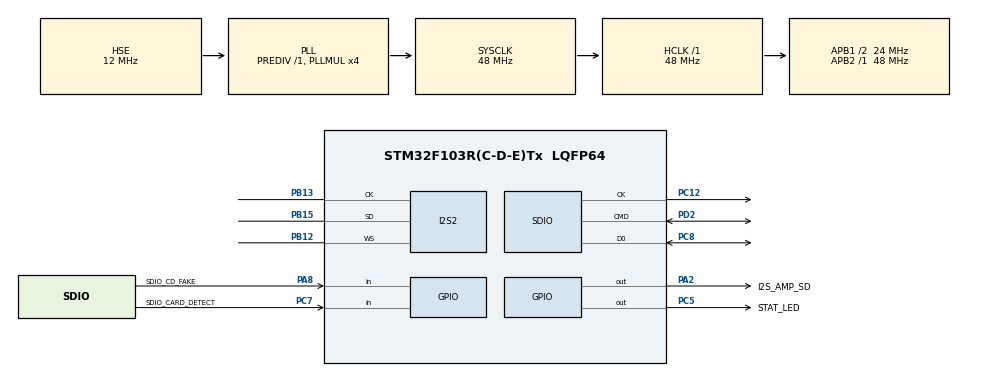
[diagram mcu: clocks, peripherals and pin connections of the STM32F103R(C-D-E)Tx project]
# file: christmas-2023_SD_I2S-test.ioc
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FATFS.BSP.number=1
FATFS0.BSP.STBoard=false
FATFS0.BSP.api=Unknown
FATFS0.BSP.instance=PC7
FATFS0.BSP.ip=GPIO
FATFS0.BSP.mode=Input
FATFS0.BSP.name=Detect_SDIO
FATFS0.BSP.solution=PC7
I2S2.AudioFreq=I2S_AUDIOFREQ_44K
I2S2.ErrorAudioFreq=0.26 %
I2S2.Instance=SPI$Index
I2S2.RealAudioFreq=44.117 KHz
I2S2.VirtualMode=I2S_MODE_MASTER
Mcu.Family=STM32F1
Mcu.Name=STM32F103R(C-D-E)Tx
Mcu.Package=LQFP64
NVIC.PriorityGroup=NVIC_PRIORITYGROUP_4
NVIC.SPI2_IRQn=true\:0\:0\:false\:false\:true\:true\:true\:true
PA13.Mode=Serial_Wire
PA13.Signal=SYS_JTMS-SWDIO
PA14.Mode=Serial_Wire
PA14.Signal=SYS_JTCK-SWCLK
PA2.GPIO_Label=I2S_AMP_SD
PA2.Signal=GPIO_Output
PA8.GPIO_Label=SDIO_CD_FAKE
PA8.GPIO_PuPd=GPIO_PULLUP
PA8.Signal=GPIO_Input
PB12.Mode=Half_Duplex_Master_TX
PB12.Signal=I2S2_WS
PB13.Mode=Half_Duplex_Master_TX
PB13.Signal=I2S2_CK
PB15.Mode=Half_Duplex_Master_TX
PB15.Signal=I2S2_SD
PC12.Mode=SD_1_bit
PC12.Signal=SDIO_CK
PC5.GPIO_Label=STAT_LED
PC5.Signal=GPIO_Output
PC7.GPIO_Label=SDIO_CARD_DETECT
PC7.GPIO_PuPd=GPIO_NOPULL
PC7.Signal=GPIO_Input
PC8.Mode=SD_1_bit
PC8.Signal=SDIO_D0
PD0-OSC_IN.Mode=HSE-External-Oscillator
PD0-OSC_IN.Signal=RCC_OSC_IN
PD1-OSC_OUT.Mode=HSE-External-Oscillator
PD1-OSC_OUT.Signal=RCC_OSC_OUT
PD2.Mode=SD_1_bit
PD2.Signal=SDIO_CMD
ProjectManager.HeapSize=0x200
ProjectManager.StackSize=0x400
ProjectManager.TargetToolchain=STM32CubeIDE
RCC.ADCPresc=RCC_ADCPCLK2_DIV6
RCC.AHBFreq_Value=48000000
RCC.APB1CLKDivider=RCC_HCLK_DIV2
RCC.APB1Freq_Value=24000000
RCC.APB1TimFreq_Value=48000000
RCC.APB2Freq_Value=48000000
RCC.APB2TimFreq_Value=48000000
RCC.HCLKFreq_Value=48000000
RCC.HSE_VALUE=12000000
RCC.PLLMUL=RCC_PLL_MUL4
RCC.PLLSourceVirtual=RCC_PLLSOURCE_HSE
RCC.SYSCLKFreq_VALUE=48000000
RCC.SYSCLKSource=RCC_SYSCLKSOURCE_PLLCLK
RCC.USBFreq_Value=48000000
SDIO.ClockDiv=4
VP_FATFS_VS_SDIO.Mode=SDIO
board=custom

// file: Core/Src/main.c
/* USER CODE BEGIN Header */
/**
  ******************************************************************************
  * @file           : main.c
  * @brief          : Main program body
  ******************************************************************************
  * @attention
  *
  * Copyright (c) 2023 STMicroelectronics.
  * All rights reserved.
  *
  * This software is licensed under terms that can be found in the LICENSE file
  * in the root directory of this software component.
  * If no LICENSE file comes with this software, it is provided AS-IS.
  *
  ******************************************************************************
  */
/* USER CODE END Header */
#include "main.h"
#include "fatfs.h"

/* USER CODE BEGIN Includes */

#include <string.h>
#include <stdlib.h>
#include <stdbool.h>
#include "wav.h"
#include <stdarg.h>
#include <math.h>

/* USER CODE END Includes */

I2S_HandleTypeDef hi2s2;

SD_HandleTypeDef hsd;

void SystemClock_Config(void);
static void MX_GPIO_Init(void);
static void MX_SDIO_SD_Init(void);
static void MX_I2S2_Init(void);

/* USER CODE BEGIN 0 */

FATFS fs;

volatile bool end_of_file_reached = false;
volatile bool read_next_chunk = false;
volatile uint16_t* signal_play_buff = NULL;
volatile uint16_t* signal_read_buff = NULL;
volatile uint16_t signal_buff1[4096];
volatile uint16_t signal_buff2[4096];

void HAL_I2S_TxCpltCallback(I2S_HandleTypeDef *hi2s) {
    if(end_of_file_reached)
        return;

    volatile uint16_t* temp = signal_play_buff;
    signal_play_buff = signal_read_buff;
    signal_read_buff = temp;

    int nsamples = sizeof(signal_buff1) / sizeof(signal_buff1[0]);
    HAL_I2S_Transmit_IT(&hi2s2, (uint16_t*)signal_play_buff, nsamples);
    read_next_chunk = true;
}

int playWavFile(const char* fname) {

    FIL file;
    FRESULT res = f_open(&file, fname, FA_READ);
    if(res != FR_OK) {
        return EXIT_FAILURE;
    }

    unsigned int bytesRead;
    uint8_t header[44];
    res = f_read(&file, header, sizeof(header), &bytesRead);
    if(res != FR_OK) {
        f_close(&file);
        return EXIT_FAILURE;
    }

    if(memcmp((const char*)header, "RIFF", 4) != 0) {
        f_close(&file);
        return EXIT_FAILURE;
    }

    if(memcmp((const char*)header + 8, "WAVEfmt ", 8) != 0) {
        f_close(&file);
        return EXIT_FAILURE;
    }

    if(memcmp((const char*)header + 36, "data", 4) != 0) {
        f_close(&file);
        return EXIT_FAILURE;
    }

    uint32_t fileSize = 8 + (header[4] | (header[5] << 8) | (header[6] << 16) | (header[7] << 24));
    uint32_t headerSizeLeft = header[16] | (header[17] << 8) | (header[18] << 16) | (header[19] << 24);
    uint16_t compression = header[20] | (header[21] << 8);
    uint16_t channelsNum = header[22] | (header[23] << 8);
    uint32_t sampleRate = header[24] | (header[25] << 8) | (header[26] << 16) | (header[27] << 24);
    uint32_t bytesPerSecond = header[28] | (header[29] << 8) | (header[30] << 16) | (header[31] << 24);
    uint16_t bytesPerSample = header[32] | (header[33] << 8);
    uint16_t bitsPerSamplePerChannel = header[34] | (header[35] << 8);
    uint32_t dataSize = header[40] | (header[41] << 8) | (header[42] << 16) | (header[43] << 24);

//    UART_Printf(
//        "--- WAV header ---\r\n"
//        "File size: %lu\r\n"
//        "Header size left: %lu\r\n"
//        "Compression (1 = no compression): %d\r\n"
//        "Channels num: %d\r\n"
//        "Sample rate: %ld\r\n"
//        "Bytes per second: %ld\r\n"
//        "Bytes per sample: %d\r\n"
//        "Bits per sample per channel: %d\r\n"
//        "Data size: %ld\r\n"
//        "------------------\r\n",
//        fileSize, headerSizeLeft, compression, channelsNum, sampleRate, bytesPerSecond, bytesPerSample,
//        bitsPerSamplePerChannel, dataSize);

    if(headerSizeLeft != 16) {
        //UART_Printf("Wrong `headerSizeLeft` value, 16 expected\r\n");
        f_close(&file);
        return EXIT_FAILURE;
    }

    if(compression != 1) {
        //UART_Printf("Wrong `compression` value, 1 expected\r\n");
        f_close(&file);
        return EXIT_FAILURE;
    }

    if(channelsNum != 2) {
        //UART_Printf("Wrong `channelsNum` value, 2 expected\r\n");
        f_close(&file);
        return EXIT_FAILURE;
    }

    if((sampleRate != 44100) || (bytesPerSample != 4) || (bitsPerSamplePerChannel != 16) || (bytesPerSecond != 44100*2*2)
       || (dataSize < sizeof(signal_buff1) + sizeof(signal_buff2))) {
        //UART_Printf("Wrong file format, 16 bit file with sample rate 44100 expected\r\n");
        f_close(&file);
        return EXIT_FAILURE;
    }

    res = f_read(&file, (uint8_t*)signal_buff1, sizeof(signal_buff1), &bytesRead);
    if(res != FR_OK) {
        //UART_Printf("f_read() failed, res = %d\r\n", res);
        f_close(&file);
        return EXIT_FAILURE;
    }

    res = f_read(&file, (uint8_t*)signal_buff2, sizeof(signal_buff2), &bytesRead);
    if(res != FR_OK) {
        //UART_Printf("f_read() failed, res = %d\r\n", res);
        f_close(&file);
        return EXIT_FAILURE;
    }

    read_next_chunk = true;
    end_of_file_reached = false;
    signal_play_buff = signal_buff1;
    signal_read_buff = signal_buff2;

    HAL_StatusTypeDef hal_res;
    int nsamples = sizeof(signal_buff1) / sizeof(signal_buff1[0]);
    hal_res = HAL_I2S_Transmit_IT(&hi2s2, (uint16_t*)signal_buff1, nsamples);
    // hal_res = HAL_I2S_Transmit(&hi2s2, (uint16_t*)signal_buff1, nsamples, 2000);
    if(hal_res != HAL_OK) {
        //UART_Printf("I2S - HAL_I2S_Transmit failed, hal_res = %d!\r\n", hal_res);
        f_close(&file);
        return EXIT_FAILURE;
    }

    while(dataSize >= sizeof(signal_buff1)) {
        if(!read_next_chunk) {
            continue;
        }

        read_next_chunk = false;

        res = f_read(&file, (uint8_t*)signal_read_buff, sizeof(signal_buff1), &bytesRead);
        if(res != FR_OK) {
            //UART_Printf("f_read() failed, res = %d\r\n", res);
            f_close(&file);
            return EXIT_FAILURE;
        }

        dataSize -= sizeof(signal_buff1);
    }

    end_of_file_reached = true;

    res = f_close(&file);
    if(res != FR_OK) {
        //UART_Printf("f_close() failed, res = %d\r\n", res);
        return EXIT_FAILURE;
    }

    return 0;
}

int playWavFile_Me(const char* fname) {

	FIL file;
	FRESULT res = f_open(&file, fname, FA_READ);
	if(res != FR_OK) {
		return EXIT_FAILURE;
	}

	unsigned int bytesRead;
	uint8_t header[44];
	res = f_read(&file, header, sizeof(header), &bytesRead);
	if(res != FR_OK) {
		f_close(&file);
		return EXIT_FAILURE;
	}

	if(memcmp((const char*)header, "RIFF", 4) != 0) {
		f_close(&file);
		return EXIT_FAILURE;
	}

	if(memcmp((const char*)header + 8, "WAVEfmt ", 8) != 0) {
		f_close(&file);
		return EXIT_FAILURE;
	}

	if(memcmp((const char*)header + 36, "data", 4) != 0) {
		f_close(&file);
		return EXIT_FAILURE;
	}

	uint32_t fileSize = 8 + (header[4] | (header[5] << 8) | (header[6] << 16) | (header[7] << 24));
	uint32_t headerSizeLeft = header[16] | (header[17] << 8) | (header[18] << 16) | (header[19] << 24);
	uint16_t compression = header[20] | (header[21] << 8);
	uint16_t channelsNum = header[22] | (header[23] << 8);
	uint32_t sampleRate = header[24] | (header[25] << 8) | (header[26] << 16) | (header[27] << 24);
	uint32_t bytesPerSecond = header[28] | (header[29] << 8) | (header[30] << 16) | (header[31] << 24);
	uint16_t bytesPerSample = header[32] | (header[33] << 8);
	uint16_t bitsPerSamplePerChannel = header[34] | (header[35] << 8);
	uint32_t dataSize = header[40] | (header[41] << 8) | (header[42] << 16) | (header[43] << 24);

//    UART_Printf(
//        "--- WAV header ---\r\n"
//        "File size: %lu\r\n"
//        "Header size left: %lu\r\n"
//        "Compression (1 = no compression): %d\r\n"
//        "Channels num: %d\r\n"
//        "Sample rate: %ld\r\n"
//        "Bytes per second: %ld\r\n"
//        "Bytes per sample: %d\r\n"
//        "Bits per sample per channel: %d\r\n"
//        "Data size: %ld\r\n"
//        "------------------\r\n",
//        fileSize, headerSizeLeft, compression, channelsNum, sampleRate, bytesPerSecond, bytesPerSample,
//        bitsPerSamplePerChannel, dataSize);

	if(headerSizeLeft != 16) {
		//UART_Printf("Wrong `headerSizeLeft` value, 16 expected\r\n");
		f_close(&file);
		return EXIT_FAILURE;
	}

	if(compression != 1) {
		//UART_Printf("Wrong `compression` value, 1 expected\r\n");
		f_close(&file);
		return EXIT_FAILURE;
	}

	if(channelsNum != 2) {
		//UART_Printf("Wrong `channelsNum` value, 2 expected\r\n");
		f_close(&file);
		return EXIT_FAILURE;
	}

	if((sampleRate != 44100) || (bytesPerSample != 4) || (bitsPerSamplePerChannel != 16) || (bytesPerSecond != 44100*2*2)
	   || (dataSize < sizeof(signal_buff1) + sizeof(signal_buff2))) {
		//UART_Printf("Wrong file format, 16 bit file with sample rate 44100 expected\r\n");
		f_close(&file);
		return EXIT_FAILURE;
	}

	volatile uint16_t signal_buff[16384];
	 HAL_StatusTypeDef hal_res;
	 int nsamples = sizeof(signal_buff) / sizeof(signal_buff[0]);

	 uint32_t filePointerOffsetCount = 0;

	while(1) {
		res = f_lseek(&file, ((sizeof(signal_buff) / 16) * filePointerOffsetCount) + 45);
		res = f_read(&file, (uint8_t*)signal_buff, sizeof(signal_buff) / 16, &bytesRead);
		if(res != FR_OK) {
			//UART_Printf("f_read() failed, res = %d\r\n", res);
			f_close(&file);
			return EXIT_FAILURE;
		}

		hal_res = HAL_I2S_Transmit(&hi2s2, (uint16_t*)signal_buff, nsamples, 1000);
		if(hal_res != HAL_OK) {
			//UART_Printf("I2S - HAL_I2S_Transmit failed, hal_res = %d!\r\n", hal_res);
			f_close(&file);
			return EXIT_FAILURE;
		}

		filePointerOffsetCount++;

		//HAL_Delay(1000);

	}

}

int playWavFile_Test(const char* fname) {

    FIL file;
    FRESULT res = f_open(&file, fname, FA_READ);
    if(res != FR_OK) {
        return EXIT_FAILURE;
    }

    unsigned int bytesRead;
    uint8_t header[44];
    res = f_read(&file, header, sizeof(header), &bytesRead);
    if(res != FR_OK) {
        f_close(&file);
        return EXIT_FAILURE;
    }

    if(memcmp((const char*)header, "RIFF", 4) != 0) {
        f_close(&file);
        return EXIT_FAILURE;
    }

    if(memcmp((const char*)header + 8, "WAVEfmt ", 8) != 0) {
        f_close(&file);
        return EXIT_FAILURE;
    }

    if(memcmp((const char*)header + 36, "data", 4) != 0) {
        f_close(&file);
        return EXIT_FAILURE;
    }

    uint32_t fileSize = 8 + (header[4] | (header[5] << 8) | (header[6] << 16) | (header[7] << 24));
    uint32_t headerSizeLeft = header[16] | (header[17] << 8) | (header[18] << 16) | (header[19] << 24);
    uint16_t compression = header[20] | (header[21] << 8);
    uint16_t channelsNum = header[22] | (header[23] << 8);
    uint32_t sampleRate = header[24] | (header[25] << 8) | (header[26] << 16) | (header[27] << 24);
    uint32_t bytesPerSecond = header[28] | (header[29] << 8) | (header[30] << 16) | (header[31] << 24);
    uint16_t bytesPerSample = header[32] | (header[33] << 8);
    uint16_t bitsPerSamplePerChannel = header[34] | (header[35] << 8);
    uint32_t dataSize = header[40] | (header[41] << 8) | (header[42] << 16) | (header[43] << 24);

//    UART_Printf(
//        "--- WAV header ---\r\n"
//        "File size: %lu\r\n"
//        "Header size left: %lu\r\n"
//        "Compression (1 = no compression): %d\r\n"
//        "Channels num: %d\r\n"
//        "Sample rate: %ld\r\n"
//        "Bytes per second: %ld\r\n"
//        "Bytes per sample: %d\r\n"
//        "Bits per sample per channel: %d\r\n"
//        "Data size: %ld\r\n"
//        "------------------\r\n",
//        fileSize, headerSizeLeft, compression, channelsNum, sampleRate, bytesPerSecond, bytesPerSample,
//        bitsPerSamplePerChannel, dataSize);

    if(headerSizeLeft != 16) {
        //UART_Printf("Wrong `headerSizeLeft` value, 16 expected\r\n");
        f_close(&file);
        return EXIT_FAILURE;
    }

    if(compression != 1) {
        //UART_Printf("Wrong `compression` value, 1 expected\r\n");
        f_close(&file);
        return EXIT_FAILURE;
    }

    if(channelsNum != 2) {
        //UART_Printf("Wrong `channelsNum` value, 2 expected\r\n");
        f_close(&file);
        return EXIT_FAILURE;
    }

    if((sampleRate != 44100) || (bytesPerSample != 4) || (bitsPerSamplePerChannel != 16) || (bytesPerSecond != 44100*2*2)
       || (dataSize < sizeof(signal_buff1) + sizeof(signal_buff2))) {
        //UART_Printf("Wrong file format, 16 bit file with sample rate 44100 expected\r\n");
        f_close(&file);
        return EXIT_FAILURE;
    }

    res = f_read(&file, (uint8_t*)signal_buff1, sizeof(signal_buff1), &bytesRead);
    if(res != FR_OK) {
        //UART_Printf("f_read() failed, res = %d\r\n", res);
        f_close(&file);
        return EXIT_FAILURE;
    }

    res = f_read(&file, (uint8_t*)signal_buff2, sizeof(signal_buff2), &bytesRead);
    if(res != FR_OK) {
        //UART_Printf("f_read() failed, res = %d\r\n", res);
        f_close(&file);
        return EXIT_FAILURE;
    }

    read_next_chunk = true;
    end_of_file_reached = false;
    signal_play_buff = signal_buff1;
    signal_read_buff = signal_buff2;

    HAL_StatusTypeDef hal_res;
    int nsamples = sizeof(signal_buff1) / sizeof(signal_buff1[0]);
    hal_res = HAL_I2S_Transmit_IT(&hi2s2, (uint16_t*)signal_buff1, nsamples);
    // hal_res = HAL_I2S_Transmit(&hi2s2, (uint16_t*)signal_buff1, nsamples, 2000);
    if(hal_res != HAL_OK) {
        //UART_Printf("I2S - HAL_I2S_Transmit failed, hal_res = %d!\r\n", hal_res);
        f_close(&file);
        return EXIT_FAILURE;
    }

    while(dataSize >= sizeof(signal_buff1)) {
        if(!read_next_chunk) {
            continue;
        }

        read_next_chunk = false;

        res = f_read(&file, (uint8_t*)signal_read_buff, sizeof(signal_buff1), &bytesRead);
        if(res != FR_OK) {
            //UART_Printf("f_read() failed, res = %d\r\n", res);
            f_close(&file);
            return EXIT_FAILURE;
        }

        dataSize -= sizeof(signal_buff1);
    }

    end_of_file_reached = true;

    res = f_close(&file);
    if(res != FR_OK) {
        //UART_Printf("f_close() failed, res = %d\r\n", res);
        return EXIT_FAILURE;
    }

    return 0;
}

/* USER CODE END 0 */

int main(void)
{

  /* MCU Configuration--------------------------------------------------------*/

  /* Reset of all peripherals, Initializes the Flash interface and the Systick. */
  HAL_Init();

  /* Configure the system clock */
  SystemClock_Config();

  /* Initialize all configured peripherals */
  MX_GPIO_Init();
  MX_SDIO_SD_Init();
  MX_FATFS_Init();
  MX_I2S2_Init();

  /* Infinite loop */
  /* USER CODE BEGIN WHILE */

  FRESULT res = f_mount(&fs, "XMAS-23", 1);
   if(res != FR_OK) {
	   return EXIT_FAILURE;
   }

  while (1)
  {

	  playWavFile("canS.wav");
	  if (HAL_I2S_Init(&hi2s2) != HAL_OK)
	   {
	     Error_Handler();
	   }

//	  playWavFile("1k.wav");
//	  if (HAL_I2S_Init(&hi2s2) != HAL_OK)
//	   {
//	     Error_Handler();
//	   }

//	  res = f_mount(0, "XMAS-23", 0);
//	  if(res != FR_OK) {
//		   return EXIT_FAILURE;
//	   }

    /* USER CODE END WHILE */

  }
}

void SystemClock_Config(void)
{
  RCC_OscInitTypeDef RCC_OscInitStruct = {0};
  RCC_ClkInitTypeDef RCC_ClkInitStruct = {0};
  RCC_PeriphCLKInitTypeDef PeriphClkInit = {0};

  /** Initializes the RCC Oscillators according to the specified parameters
  * in the RCC_OscInitTypeDef structure.
  */
  RCC_OscInitStruct.OscillatorType = RCC_OSCILLATORTYPE_HSE;
  RCC_OscInitStruct.HSEState = RCC_HSE_ON;
  RCC_OscInitStruct.HSEPredivValue = RCC_HSE_PREDIV_DIV1;
  RCC_OscInitStruct.HSIState = RCC_HSI_ON;
  RCC_OscInitStruct.PLL.PLLState = RCC_PLL_ON;
  RCC_OscInitStruct.PLL.PLLSource = RCC_PLLSOURCE_HSE;
  RCC_OscInitStruct.PLL.PLLMUL = RCC_PLL_MUL4;
  if (HAL_RCC_OscConfig(&RCC_OscInitStruct) != HAL_OK)
  {
    Error_Handler();
  }

  /** Initializes the CPU, AHB and APB buses clocks
  */
  RCC_ClkInitStruct.ClockType = RCC_CLOCKTYPE_HCLK|RCC_CLOCKTYPE_SYSCLK
                              |RCC_CLOCKTYPE_PCLK1|RCC_CLOCKTYPE_PCLK2;
  RCC_ClkInitStruct.SYSCLKSource = RCC_SYSCLKSOURCE_PLLCLK;
  RCC_ClkInitStruct.AHBCLKDivider = RCC_SYSCLK_DIV1;
  RCC_ClkInitStruct.APB1CLKDivider = RCC_HCLK_DIV2;
  RCC_ClkInitStruct.APB2CLKDivider = RCC_HCLK_DIV1;

  if (HAL_RCC_ClockConfig(&RCC_ClkInitStruct, FLASH_LATENCY_1) != HAL_OK)
  {
    Error_Handler();
  }
  PeriphClkInit.PeriphClockSelection = RCC_PERIPHCLK_I2S2;
  PeriphClkInit.I2s2ClockSelection = RCC_I2S2CLKSOURCE_SYSCLK;
  if (HAL_RCCEx_PeriphCLKConfig(&PeriphClkInit) != HAL_OK)
  {
    Error_Handler();
  }
}

static void MX_I2S2_Init(void)
{

  hi2s2.Instance = SPI2;
  hi2s2.Init.Mode = I2S_MODE_MASTER_TX;
  hi2s2.Init.Standard = I2S_STANDARD_PHILIPS;
  hi2s2.Init.DataFormat = I2S_DATAFORMAT_16B;
  hi2s2.Init.MCLKOutput = I2S_MCLKOUTPUT_DISABLE;
  hi2s2.Init.AudioFreq = I2S_AUDIOFREQ_44K;
  hi2s2.Init.CPOL = I2S_CPOL_LOW;
  if (HAL_I2S_Init(&hi2s2) != HAL_OK)
  {
    Error_Handler();
  }

}

static void MX_SDIO_SD_Init(void)
{

  hsd.Instance = SDIO;
  hsd.Init.ClockEdge = SDIO_CLOCK_EDGE_RISING;
  hsd.Init.ClockBypass = SDIO_CLOCK_BYPASS_DISABLE;
  hsd.Init.ClockPowerSave = SDIO_CLOCK_POWER_SAVE_DISABLE;
  hsd.Init.BusWide = SDIO_BUS_WIDE_1B;
  hsd.Init.HardwareFlowControl = SDIO_HARDWARE_FLOW_CONTROL_DISABLE;
  hsd.Init.ClockDiv = 4;

}

static void MX_GPIO_Init(void)
{
  GPIO_InitTypeDef GPIO_InitStruct = {0};

  /* GPIO Ports Clock Enable */
  __HAL_RCC_GPIOD_CLK_ENABLE();
  __HAL_RCC_GPIOA_CLK_ENABLE();
  __HAL_RCC_GPIOC_CLK_ENABLE();
  __HAL_RCC_GPIOB_CLK_ENABLE();

  /*Configure GPIO pin Output Level */
  HAL_GPIO_WritePin(I2S_AMP_SD_GPIO_Port, I2S_AMP_SD_Pin, GPIO_PIN_RESET);

  /*Configure GPIO pin Output Level */
  HAL_GPIO_WritePin(STAT_LED_GPIO_Port, STAT_LED_Pin, GPIO_PIN_RESET);

  /*Configure GPIO pin : I2S_AMP_SD_Pin */
  GPIO_InitStruct.Pin = I2S_AMP_SD_Pin;
  GPIO_InitStruct.Mode = GPIO_MODE_OUTPUT_PP;
  GPIO_InitStruct.Pull = GPIO_NOPULL;
  GPIO_InitStruct.Speed = GPIO_SPEED_FREQ_LOW;
  HAL_GPIO_Init(I2S_AMP_SD_GPIO_Port, &GPIO_InitStruct);

  /*Configure GPIO pin : STAT_LED_Pin */
  GPIO_InitStruct.Pin = STAT_LED_Pin;
  GPIO_InitStruct.Mode = GPIO_MODE_OUTPUT_PP;
  GPIO_InitStruct.Pull = GPIO_NOPULL;
  GPIO_InitStruct.Speed = GPIO_SPEED_FREQ_LOW;
  HAL_GPIO_Init(STAT_LED_GPIO_Port, &GPIO_InitStruct);

  /*Configure GPIO pin : SDIO_CARD_DETECT_Pin */
  GPIO_InitStruct.Pin = SDIO_CARD_DETECT_Pin;
  GPIO_InitStruct.Mode = GPIO_MODE_INPUT;
  GPIO_InitStruct.Pull = GPIO_NOPULL;
  HAL_GPIO_Init(SDIO_CARD_DETECT_GPIO_Port, &GPIO_InitStruct);

  /*Configure GPIO pin : SDIO_CD_FAKE_Pin */
  GPIO_InitStruct.Pin = SDIO_CD_FAKE_Pin;
  GPIO_InitStruct.Mode = GPIO_MODE_INPUT;
  GPIO_InitStruct.Pull = GPIO_PULLUP;
  HAL_GPIO_Init(SDIO_CD_FAKE_GPIO_Port, &GPIO_InitStruct);

}

void Error_Handler(void)
{
  __disable_irq();
  while (1)
  {
  }
}
